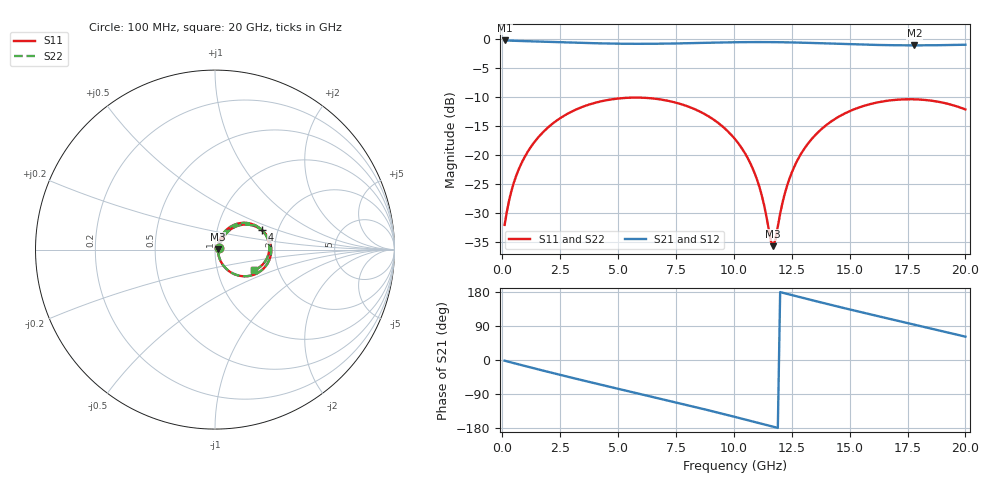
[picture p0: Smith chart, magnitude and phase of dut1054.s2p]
! Touchstone file exported from HFSS 2026.1.0
!  File:  C:/ffzhzh/LocalFiles/Ansys_Project_Files/temp_train_TSV_RDL_1054_1783297378_30076.aedt
!  Generated:  08:32:50 AM Jul  6, 2026
!  Design:  TSV_RDL
!  Project:  temp_train_TSV_RDL_1054_1783297378_30076
! Variables:
!  h_bsmrdl = 4.7um
!  h_ox = 20um
!  h_rdl = 5um
!  h_sub = 73.09um
!  h_tmrdl = 2.53um
!  h_tsv = 73.09um
!  h_via = 3um
!  l_bsmrdl = 335.62um
!  l_sub = 5166.45um
!  l_tmrdl = 897.47um
!  m_sub = 200um
!  pitch = 41.71um
!  r_tsv = 7.83um
!  s_tmrdl = 10um
!  w_bsmrdl = 27.04um
!  w_sub = 500um
!  w_tmrdl = 29.53um
!  x_tsv_center1 = 912.235um
!  x_tsv_center2 = 1274.895um
!  x_tsv_center3 = 2201.895um
!  x_tsv_center4 = 2564.555um
!  x_tsv_center5 = 3491.555um
!  x_tsv_center6 = 3854.215um
# GHz S MA R 50.000000
! Terminal data exported
! Port[1] = TM_RDL1_1_T1
! Port[2] = TM_RDL5_1_T1
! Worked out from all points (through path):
!   200 points, 100 MHz to 20 GHz, reference 50 ohm
!   highest |S21| = -0.19 dB at 100 MHz (marker M1); lowest = -1.0 dB at 17.8 GHz (marker M2)
!   group delay of S21, straight-line fit = 41.5 ps
!   lowest |S11| = -35.8 dB at 11.7 GHz (marker M3), VSWR 1.03, Z = 51.6 + j0.0851 ohm
!   |S11| at or under -10 dB: start of sweep to end of sweep
!   |S22| runs from -35.5 to -10.1 dB; largest |S21 - S12| = 4.2e-14
!   S11 on the Smith chart (normalised r, x): 100 MHz: 1.05, +0.02; 4 GHz: 1.65, +0.39; 20 GHz: 1.51, -0.37
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0.1  0.0248 26.6  0.9781 -1.7  0.9781 -1.7  0.0248 26.6
! Gamma 0 0 0 0
! Port Impedance 50 0 50 0
0.5  0.05766 53.5  0.9714 -8.3  0.9714 -8.3  0.05766 53.5
1.2  0.1146 55.0  0.9625 -19.3  0.9625 -19.3  0.1146 55.0
2.2  0.1885 45.5  0.9493 -34.7  0.9493 -34.7  0.1885 45.5
3.5  0.2622 29.1  0.9313 -54.1  0.9313 -54.1  0.2622 29.1
4  0.2823 22.5  0.9255 -61.5  0.9255 -61.5  0.2823 22.6
5.4  0.3122 3.9  0.9155 -81.6  0.9155 -81.6  0.3122 3.9
6.8  0.3027 -14.9  0.9169 -101.7  0.9169 -101.7  0.3027 -14.9
8.7  0.228 -40.7  0.9324 -129.6  0.9324 -129.6  0.228 -40.6
10.1  0.1333 -58.5  0.9441 -151.0  0.9441 -151.0  0.1333 -58.3
11  0.06124 -63.7  0.9472 -165.1  0.9472 -165.1  0.06132 -63.3
11.3  0.03727 -57.8  0.9471 -169.8  0.9471 -169.8  0.03744 -57.1
11.6  0.01803 -24.0  0.9463 -174.5  0.9463 -174.5  0.01844 -23.2
11.7  0.01625 2.9  0.946 -176.1  0.946 -176.1  0.01672 2.9
12.1  0.03847 59.3  0.9438 177.6  0.9438 177.6  0.0387 58.7
12.4  0.06225 64.6  0.9415 172.9  0.9415 172.9  0.0624 64.2
12.8  0.09423 63.8  0.9376 166.7  0.9376 166.7  0.09434 63.5
13.4  0.1401 58.1  0.9304 157.5  0.9304 157.5  0.1401 58.0
14.8  0.2289 40.5  0.9108 136.4  0.9108 136.4  0.2289 40.4
16.7  0.2956 15.4  0.8905 109.0  0.8905 109.0  0.2956 15.3
17.8  0.3029 0.9  0.8871 93.3  0.8871 93.3  0.3028 0.9
20  0.2474 -27.8  0.8986 61.6  0.8986 61.6  0.2473 -27.8
